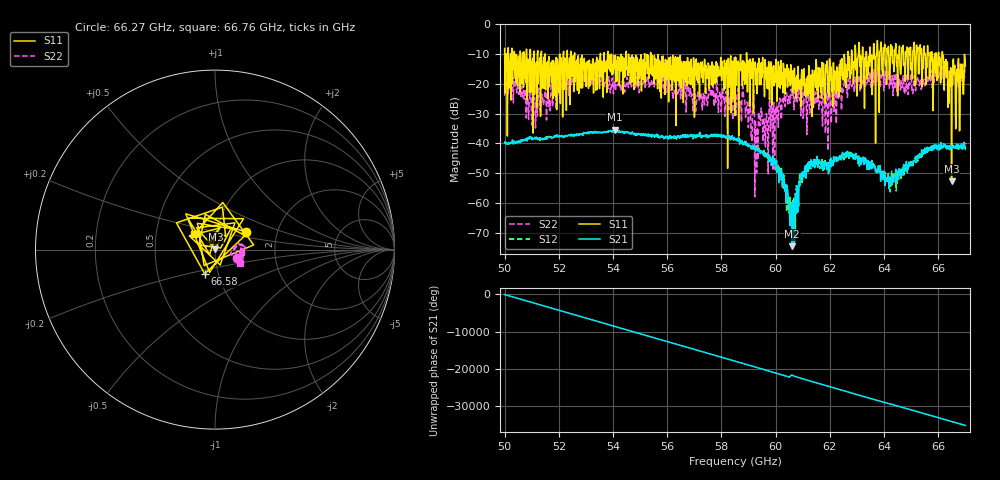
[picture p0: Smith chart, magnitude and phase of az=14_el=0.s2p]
!Created with skrf (http://scikit-rf.org).
# GHz S RI R 50.0
!freq ReS11 ImS11 ReS21 ImS21 ReS12 ImS12 ReS22 ImS22
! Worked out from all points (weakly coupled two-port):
!   1001 points, 50 GHz to 67 GHz, reference 50 ohm
!   highest |S21| = -35.42 dB at 54.06 GHz (marker M1); lowest = -74.5 dB at 60.61 GHz (marker M2)
!   lowest |S11| = -52.7 dB at 66.49 GHz (marker M3), VSWR 1.00, Z = 50.2 + j0.15 ohm
!   |S11| at or under -10 dB: 52.58 GHz to 53.53 GHz (949.4 MHz wide, 1.79 % of centre); 55.39 GHz to 58.92 GHz (3.533 GHz wide, 6.18 % of centre); 58.93 GHz to 62.66 GHz (3.735 GHz wide, 6.14 % of centre) (the widest 3 of 62)
!   |S22| runs from -57.9 to -13.4 dB; largest |S21 - S12| = 0.0027
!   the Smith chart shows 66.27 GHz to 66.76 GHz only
!   S11 on the Smith chart (normalised r, x): 66.27 GHz: 1.38, +0.28; 66.58 GHz: 0.86, -0.24; 66.76 GHz: 0.78, +0.14
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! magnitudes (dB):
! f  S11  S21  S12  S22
! 50 GHz  -8.1  -39.8  -40.1  -24.0
! 50.15 GHz  -21.4  -39.7  -39.9  -20.6
! 51.07 GHz  -9.8  -38.5  -38.4  -26.2
! 52.84 GHz  -12.1  -37.0  -36.7  -20.0
! 54.06 GHz  -14.7  -35.4  -35.9  -19.5
! 55.68 GHz  -13.3  -37.3  -37.3  -21.4
! 58.5 GHz  -30.6  -38.6  -38.3  -23.2
! 59.11 GHz  -12.9  -41.0  -41.0  -37.3
! 59.32 GHz  -23.3  -41.9  -41.8  -34.7
! 59.45 GHz  -20.3  -42.6  -42.7  -29.5
! 60.03 GHz  -14.4  -45.7  -48.1  -31.4
! 60.61 GHz  -18.5  -74.5  -60.0  -23.8
! 60.95 GHz  -17.5  -52.0  -52.6  -25.6
! 61.34 GHz  -31.0  -46.1  -47.1  -26.3
! 62 GHz  -12.2  -45.5  -46.5  -23.6
! 62.7 GHz  -15.4  -43.3  -45.1  -19.7
! 64.18 GHz  -11.9  -55.2  -53.8  -17.6
! 66.27 GHz  -14.1  -41.2  -40.7  -17.8
! 66.49 GHz  -52.7  -41.2  -40.8  -15.6
! 66.58 GHz  -16.7  -41.3  -41.0  -15.6
! 66.76 GHz  -16.8  -41.4  -41.4  -16.1
! 67 GHz  -14.1  -42.0  -41.4  -14.4
